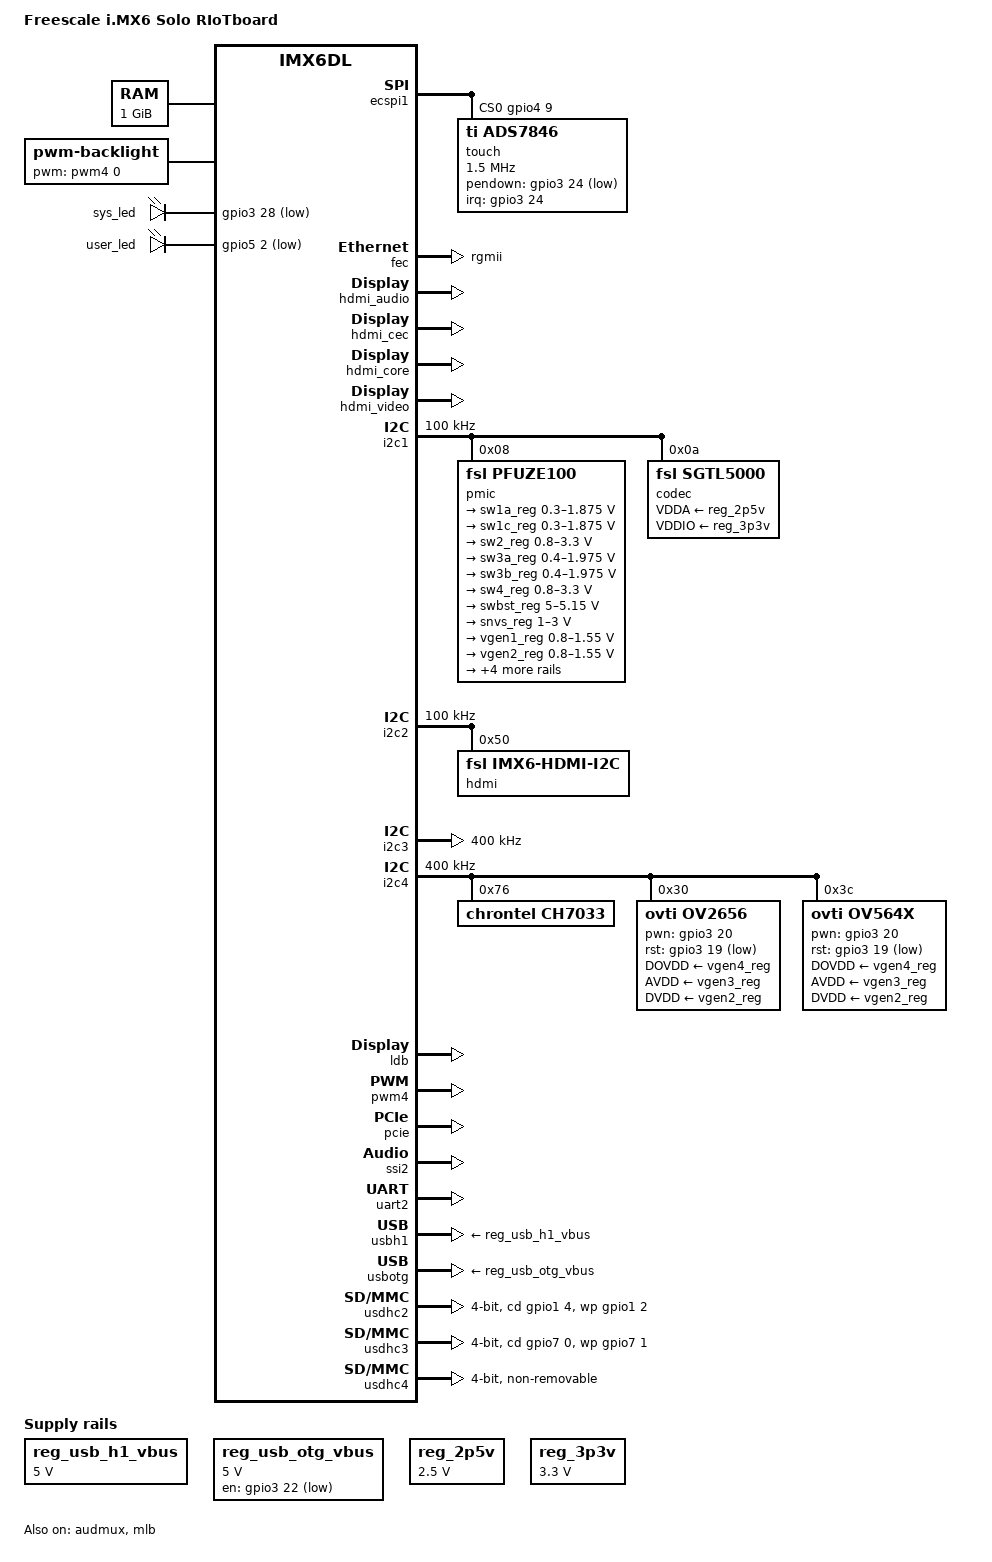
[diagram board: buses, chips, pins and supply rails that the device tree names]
/*
 * Copyright 2012 Freescale Semiconductor, Inc.
 * Copyright 2011 Linaro Ltd.
 *
 * The code contained herein is licensed under the GNU General Public
 * License. You may obtain a copy of the GNU General Public License
 * Version 2 or later at the following locations:
 *
 * http://www.opensource.org/licenses/gpl-license.html
 * http://www.gnu.org/copyleft/gpl.html
 */

/dts-v1/;

#include "imx6dl.dtsi"

/ {
    model = "Freescale i.MX6 Solo RIoTboard";
    compatible = "fsl,imx6solo_RIoTboard", "fsl,imx6dl";

    aliases {
        mxcfb0 = &mxcfb1;
        mxcfb1 = &mxcfb2;
        mxcfb2 = &mxcfb3;
        mxcfb3 = &mxcfb4;
    };

	memory {
		reg = <0x10000000 0x40000000>;
	};

    backlight {
        compatible = "pwm-backlight";
        pwms = <&pwm4 0 5000000>;
        brightness-levels = <0 4 8 16 32 64 128 255>;
        default-brightness-level = <7>;
    };

    leds {
        compatible = "gpio-leds";

        sys_led {
            gpios = <&gpio3 28 GPIO_ACTIVE_LOW>;
            linux,default-trigger = "heartbeat";
        };

        user_led {
            gpios = <&gpio5 2 GPIO_ACTIVE_LOW>;
        };
    };

	hannstar_cabc {
		compatible = "hannstar,cabc";
	};

    lcd@0 {
        compatible = "fsl,lcd";
        ipu_id = <0>;
        disp_id = <0>;
        default_ifmt = "RGB565";
        pinctrl-names = "default";
        pinctrl-0 = <&pinctrl_ipu1_1>;
        status = "okay";
    };

	mxcfb1: fb@0 {
		compatible = "fsl,mxc_sdc_fb";
		disp_dev = "ldb";
		interface_pix_fmt = "RGB666";
		mode_str ="LDB-XGA";
		default_bpp = <16>;
		int_clk = <0>;
		late_init = <0>;
		status = "okay";
	};

	mxcfb2: fb@1 {
		compatible = "fsl,mxc_sdc_fb";
		disp_dev = "hdmi";
		interface_pix_fmt = "RGB24";
		mode_str ="1920x1080M@60";
		default_bpp = <24>;
		int_clk = <0>;
		late_init = <0>;
		status = "okay";
	};

	mxcfb3: fb@2 {
		compatible = "fsl,mxc_sdc_fb";
		disp_dev = "lcd";
		interface_pix_fmt = "RGB565";
		mode_str ="CLAA-WVGA";
		default_bpp = <16>;
		int_clk = <0>;
		late_init = <0>;
		status = "disabled";
	};

	mxcfb4: fb@3 {
		compatible = "fsl,mxc_sdc_fb";
		disp_dev = "ldb";
		interface_pix_fmt = "RGB666";
		mode_str ="LDB-XGA";
		default_bpp = <16>;
		int_clk = <0>;
		late_init = <0>;
		status = "disabled";
	};

	regulators {
		compatible = "simple-bus";
		reg_usb_h1_vbus: usb_h1_vbus {
			compatible = "regulator-fixed";
			regulator-name = "usb_h1_vbus";
			regulator-min-microvolt = <5000000>;
			regulator-max-microvolt = <5000000>;
			regulator-always-on;
       };

		reg_usb_otg_vbus: usb_otg_vbus {
			compatible = "regulator-fixed";
			regulator-name = "usb_otg_vbus";
			regulator-min-microvolt = <5000000>;
			regulator-max-microvolt = <5000000>;
			gpio = <&gpio3 22 0>;
			/*enable-active-high;*/
		};

        reg_2p5v: 2p5v {
            compatible = "regulator-fixed";
            regulator-name = "2P5V";
            regulator-min-microvolt = <2500000>;
            regulator-max-microvolt = <2500000>;
            regulator-always-on;
        };

		reg_3p3v: 3p3v {
			compatible = "regulator-fixed";
			regulator-name = "3P3V";
			regulator-min-microvolt = <3300000>;
			regulator-max-microvolt = <3300000>;
			regulator-always-on;
		};
	};

    sound {
        compatible = "fsl,imx6q-sgtl5000",
                 "fsl,imx-audio-sgtl5000";
        model = "imx6q-sgtl5000";
        ssi-controller = <&ssi2>;
        audio-codec = <&codec>;
        audio-routing =
            "MIC_IN", "Mic Jack",
            "Mic Jack", "Mic Bias",
            "Headphone Jack", "HP_OUT";
        mux-int-port = <2>;
        mux-ext-port = <3>;
    };

	sound-hdmi {
		compatible = "fsl,imx6q-audio-hdmi",
			     "fsl,imx-audio-hdmi";
		model = "imx-audio-hdmi";
		hdmi-controller = <&hdmi_audio>;
	};

	v4l2_cap_0 {
		compatible = "fsl,imx6q-v4l2-capture";
		ipu_id = <0>;
		csi_id = <0>;
		mclk_source = <0>;
		status = "okay";
	};

	v4l2_out {
		compatible = "fsl,mxc_v4l2_output";
		status = "okay";
	};
};

&audmux {
	pinctrl-names = "default";
	pinctrl-0 = <&pinctrl_audmux_2>;
	status = "okay";
};

&ecspi1 {
	fsl,spi-num-chipselects = <1>;
	cs-gpios = <&gpio4 9 0>;
	pinctrl-names = "default";
	pinctrl-0 = <&pinctrl_ecspi1_2 &pinctrl_ecspi1_cs_2>;
	status = "okay";

    touch: ads7846@0 {
        #address-cells = <1>;
        #size-cells = <1>;
        compatible = "ti,ads7846";
        interrupt-parent = <&gpio3>;
        interrupts = <24 2>;
        spi-max-frequency = <1500000>;
        reg = <0>;

        ti,settle-delay-usec = /bits/ 16 <150>;
        ti,keep-vref-on = /bits/ 16 <1>;
        ti,swap-xy = /bits/ 16 <1>;
		ti,x-min = /bits/ 16 <0>;
		ti,x-max = /bits/ 16 <4095>;
		ti,y-min = /bits/ 16 <0>;
		ti,y-max = /bits/ 16 <4095>;
		ti,debounce-rep = /bits/ 16 <1>;
		ti,debounce-tol = /bits/ 16 <5>;
		ti,debounce-max = /bits/ 16 <10>;
		linux,wakeup;
		pendown-gpio = <&gpio3 24 GPIO_ACTIVE_LOW>;
    };
};

&fec {
	pinctrl-names = "default";
	pinctrl-0 = <&pinctrl_enet_1>;
	phy-mode = "rgmii";
	status = "okay";
};

&gpc {
	fsl,cpu_pupscr_sw2iso = <0xf>;
	fsl,cpu_pupscr_sw = <0xf>;
	fsl,cpu_pdnscr_iso2sw = <0x1>;
	fsl,cpu_pdnscr_iso = <0x1>;
};

&hdmi_audio {
	status = "okay";
};

&hdmi_cec {
	pinctrl-names = "default";
	pinctrl-0 = <&pinctrl_hdmi_cec_2>;
	status = "okay";
};

&hdmi_core {
	ipu_id = <0>;
	disp_id = <1>;
	status = "okay";
};

&hdmi_video {
	fsl,phy_reg_vlev = <0x0294>;
	fsl,phy_reg_cksymtx = <0x800d>;
	status = "okay";
};

&i2c1 {
    clock-frequency = <100000>;
    pinctrl-names = "default";
    pinctrl-0 = <&pinctrl_i2c1_2>;
    status = "okay";

	pmic: pfuze100@08 {
		compatible = "fsl,pfuze100";
		reg = <0x08>;

		regulators {
			sw1a_reg: sw1ab {
				regulator-min-microvolt = <300000>;
				regulator-max-microvolt = <1875000>;
				regulator-boot-on;
				regulator-always-on;
				regulator-ramp-delay = <6250>;
			};

			sw1c_reg: sw1c {
				regulator-min-microvolt = <300000>;
				regulator-max-microvolt = <1875000>;
				regulator-boot-on;
				regulator-always-on;
				regulator-ramp-delay = <6250>;
			};

			sw2_reg: sw2 {
				regulator-min-microvolt = <800000>;
				regulator-max-microvolt = <3300000>;
				regulator-boot-on;
				regulator-always-on;
			};

			sw3a_reg: sw3a {
				regulator-min-microvolt = <400000>;
				regulator-max-microvolt = <1975000>;
				regulator-boot-on;
				regulator-always-on;
			};

			sw3b_reg: sw3b {
				regulator-min-microvolt = <400000>;
				regulator-max-microvolt = <1975000>;
				regulator-boot-on;
				regulator-always-on;
			};

			sw4_reg: sw4 {
				regulator-min-microvolt = <800000>;
				regulator-max-microvolt = <3300000>;
			};

			swbst_reg: swbst {
				regulator-min-microvolt = <5000000>;
				regulator-max-microvolt = <5150000>;
			};

			snvs_reg: vsnvs {
				regulator-min-microvolt = <1000000>;
				regulator-max-microvolt = <3000000>;
				regulator-boot-on;
				regulator-always-on;
			};

			vref_reg: vrefddr {
				regulator-boot-on;
				regulator-always-on;
			};

			vgen1_reg: vgen1 {
				regulator-min-microvolt = <800000>;
				regulator-max-microvolt = <1550000>;
			};

			vgen2_reg: vgen2 {
				regulator-min-microvolt = <800000>;
				regulator-max-microvolt = <1550000>;
			};

			vgen3_reg: vgen3 {
				regulator-min-microvolt = <1800000>;
				regulator-max-microvolt = <3300000>;
			};

			vgen4_reg: vgen4 {
				regulator-min-microvolt = <1800000>;
				regulator-max-microvolt = <3300000>;
				regulator-always-on;
			};

			vgen5_reg: vgen5 {
				regulator-min-microvolt = <1800000>;
				regulator-max-microvolt = <3300000>;
				regulator-always-on;
			};

			vgen6_reg: vgen6 {
				regulator-min-microvolt = <1800000>;
				regulator-max-microvolt = <3300000>;
				regulator-always-on;
			};
		};
	};

    codec: sgtl5000@0a {
        compatible = "fsl,sgtl5000";
        reg = <0x0a>;
        clocks = <&clks 201>;
        VDDA-supply = <&reg_2p5v>;
        VDDIO-supply = <&reg_3p3v>;
    };
};

&i2c2 {
	clock-frequency = <100000>;
	pinctrl-names = "default";
	pinctrl-0 = <&pinctrl_i2c2_2>;
	status = "okay";

	hdmi: edid@50 {
		compatible = "fsl,imx6-hdmi-i2c";
		reg = <0x50>;
	};
};

&i2c3 {
	clock-frequency = <400000>;
	pinctrl-names = "default";
	pinctrl-0 = <&pinctrl_i2c3_5>;
	status = "okay";
};

&i2c4 {
    clock-frequency = <400000>;
    pinctrl-names = "default";
    pinctrl-0 = <&pinctrl_i2c4_1>;
    status = "okay";

	ch7033@76 {
		compatible = "chrontel,ch7033";
		reg = <0x76>;
	};	

    ov2656: ov2656@30 {
        compatible = "ovti,ov2656";
        reg = <0x30>;
        pinctrl-names = "default";
        pinctrl-0 = <&pinctrl_ipu1_2>;
        clocks = <&clks 201>;
        clock-names = "csi_mclk";
        DOVDD-supply = <&vgen4_reg>; /* 1.8v */
        AVDD-supply = <&vgen3_reg>;  /* 2.8v, on rev C board is VGEN3,
                        on rev B board is VGEN5 */
        DVDD-supply = <&vgen2_reg>;  /* 1.5v*/
        pwn-gpios = <&gpio3 20 GPIO_ACTIVE_HIGH>;   /* active high */
        rst-gpios = <&gpio3 19 GPIO_ACTIVE_LOW>;   /* active low */
        csi_id = <0>;
        mclk = <24000000>;
        mclk_source = <0>;
    };

    ov564x: ov564x@3c {
        compatible = "ovti,ov564x";
        reg = <0x3c>;
        pinctrl-names = "default";
        pinctrl-0 = <&pinctrl_ipu1_2>;
        clocks = <&clks 201>;
        clock-names = "csi_mclk";
        DOVDD-supply = <&vgen4_reg>; /* 1.8v */
        AVDD-supply = <&vgen3_reg>;  /* 2.8v, on rev C board is VGEN3,
                        on rev B board is VGEN5 */
        DVDD-supply = <&vgen2_reg>;  /* 1.5v*/
        pwn-gpios = <&gpio3 20 GPIO_ACTIVE_HIGH>;   /* active high */
        rst-gpios = <&gpio3 19 GPIO_ACTIVE_LOW>;   /* active low */
        csi_id = <0>;
        mclk = <24000000>;
        mclk_source = <0>;
    };
};

&iomuxc {
	pinctrl-names = "default";
	pinctrl-0 = <&pinctrl_hog>;

	hog {
		pinctrl_hog: hoggrp {
			fsl,pins = <
				/* generic_ts */	
				MX6QDL_PAD_ENET_TXD1__GPIO1_IO29 0x80000000
				MX6QDL_PAD_NANDF_CS1__GPIO6_IO14 0x80000000
				MX6QDL_PAD_NANDF_CS2__GPIO6_IO15 0x80000000
				/* sdhc2 */
				MX6QDL_PAD_GPIO_2__GPIO1_IO02 0x80000000
				MX6QDL_PAD_GPIO_4__GPIO1_IO04 0x80000000
				/* sdhc3 */
				MX6QDL_PAD_SD3_DAT4__GPIO7_IO01 0x80000000
				MX6QDL_PAD_SD3_DAT5__GPIO7_IO00 0x80000000
				/* csi */
				MX6QDL_PAD_EIM_D19__GPIO3_IO19 0x80000000
				MX6QDL_PAD_EIM_D20__GPIO3_IO20 0x80000000		
				/* usb otg */
				MX6QDL_PAD_EIM_D22__GPIO3_IO22 0x80000000
				/* ads7846 */
				MX6QDL_PAD_EIM_D24__GPIO3_IO24 0x80000000
				MX6QDL_PAD_EIM_D25__GPIO3_IO25 0x80000000	
				/* gpio-leds */
				MX6QDL_PAD_EIM_D28__GPIO3_IO28 0x80000000
				MX6QDL_PAD_EIM_A25__GPIO5_IO02 0x80000000	
				/* 24MHz for audio & camera */
				MX6QDL_PAD_GPIO_0__CCM_CLKO1    0x130b0
			>;
		};
	};
};

&ldb {
	ipu_id = <0>;
	disp_id = <0>;
	ext_ref = <1>;
	mode = "sep0";
	sec_ipu_id = <0>;
	sec_disp_id = <1>;
	ldb-en-gpio = <&gpio6 15 GPIO_ACTIVE_HIGH>;
	status = "okay";
};

&pwm4 {
    pinctrl-names = "default";
    pinctrl-0 = <&pinctrl_pwm4_1>;
    status = "okay";
};

&mlb {
	pinctrl-names = "default";
	pinctrl-0 = <&pinctrl_mlb_2>;
	status = "okay";
};

&pcie {
	status = "okay";
};

&ssi2 {
	fsl,mode = "i2s-slave";
	status = "okay";
};

&uart2 {
    pinctrl-names = "default";
    pinctrl-0 = <&pinctrl_uart2_1>;
    status = "okay";
};

&usbh1 {
	vbus-supply = <&reg_usb_h1_vbus>;
	status = "okay";
};

&usbotg {
	vbus-supply = <&reg_usb_otg_vbus>;
	pinctrl-names = "default";
	pinctrl-0 = <&pinctrl_usbotg_2>;
	imx6-usb-charger-detection;
	status = "okay";
};

&usdhc2 {
    pinctrl-names = "default";
    pinctrl-0 = <&pinctrl_usdhc2_2>;
	bus-width = <4>;
    cd-gpios = <&gpio1 4 0>;
    wp-gpios = <&gpio1 2 0>;
    no-1-8-v;
    keep-power-in-suspend;
    enable-sdio-wakeup;
    status = "okay";
};

&usdhc3 {
    pinctrl-names = "default";
    pinctrl-0 = <&pinctrl_usdhc3_2>;
	bus-width = <4>;	
    cd-gpios = <&gpio7 0 0>;
    wp-gpios = <&gpio7 1 0>;
    no-1-8-v;
    keep-power-in-suspend;
    enable-sdio-wakeup;
    status = "okay";
};

&usdhc4 {
        pinctrl-names = "default";
        pinctrl-0 = <&pinctrl_usdhc4_2>;
        bus-width = <4>;
        non-removable;
        no-1-8-v;
        keep-power-in-suspend;
        status = "okay";
};

&weim {
	pinctrl-names = "default";
	pinctrl-0 = <&pinctrl_weim_nor_1 &pinctrl_weim_cs0_1>;
	#address-cells = <2>;
	#size-cells = <1>;
	ranges = <0 0 0x08000000 0x08000000>;
	status = "disabled"; /* pin conflict with ecspi1, i2c3 and uart3 */

	nor@0,0 {
		compatible = "cfi-flash";
		reg = <0 0 0x02000000>;
		#address-cells = <1>;
		#size-cells = <1>;
		bank-width = <2>;
		fsl,weim-cs-timing = <0x00620081 0x00000001 0x1c022000
				0x0000c000 0x1404a38e 0x00000000>;
	};
};
